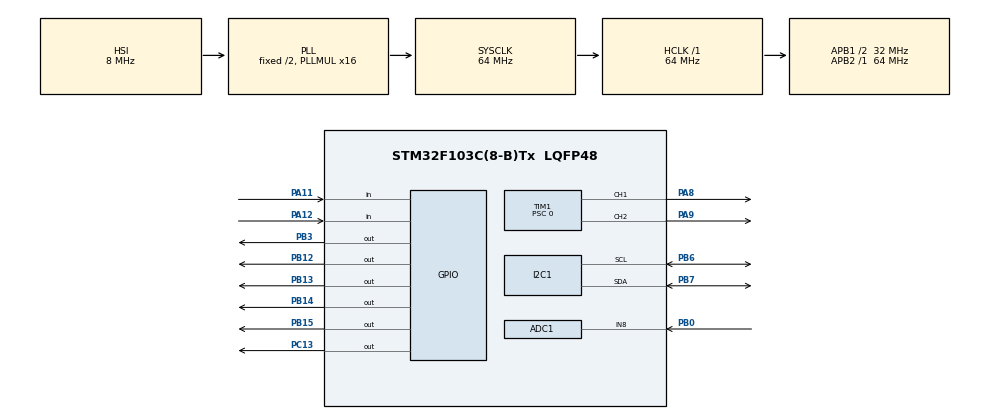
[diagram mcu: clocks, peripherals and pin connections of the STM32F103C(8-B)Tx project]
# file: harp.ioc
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ADC1.Channel-0\#ChannelRegularConversion=ADC_CHANNEL_8
ADC1.NbrOfConversionFlag=1
ADC1.Rank-0\#ChannelRegularConversion=1
ADC1.SamplingTime-0\#ChannelRegularConversion=ADC_SAMPLETIME_1CYCLE_5
ADC1.master=1
Mcu.Family=STM32F1
Mcu.Name=STM32F103C(8-B)Tx
Mcu.Package=LQFP48
NVIC.PriorityGroup=NVIC_PRIORITYGROUP_4
NVIC.TIM2_IRQn=true\:1\:0\:true\:false\:true\:true\:true\:true
NVIC.TIM3_IRQn=true\:0\:0\:false\:false\:true\:true\:true\:true
NVIC.TIM4_IRQn=true\:2\:0\:true\:false\:true\:true\:true\:true
PA11.GPIO_PuPd=GPIO_PULLUP
PA11.Signal=GPIO_Input
PA12.GPIO_PuPd=GPIO_PULLUP
PA12.Signal=GPIO_Input
PA13.Mode=Serial_Wire
PA13.Signal=SYS_JTMS-SWDIO
PA14.Mode=Serial_Wire
PA14.Signal=SYS_JTCK-SWCLK
PA8.Signal=S_TIM1_CH1
PA9.Signal=S_TIM1_CH2
PB0.Signal=ADCx_IN8
PB12.Signal=GPIO_Output
PB13.Signal=GPIO_Output
PB14.Signal=GPIO_Output
PB15.Signal=GPIO_Output
PB3.Signal=GPIO_Output
PB6.Mode=I2C
PB6.Signal=I2C1_SCL
PB7.Mode=I2C
PB7.Signal=I2C1_SDA
PC13-TAMPER-RTC.Signal=GPIO_Output
ProjectManager.HeapSize=0x200
ProjectManager.StackSize=0x400
ProjectManager.TargetToolchain=MDK-ARM V5.32
RCC.ADCPresc=RCC_ADCPCLK2_DIV8
RCC.AHBFreq_Value=64000000
RCC.APB1CLKDivider=RCC_HCLK_DIV2
RCC.APB1Freq_Value=32000000
RCC.APB1TimFreq_Value=64000000
RCC.APB2Freq_Value=64000000
RCC.APB2TimFreq_Value=64000000
RCC.HCLKFreq_Value=64000000
RCC.PLLMUL=RCC_PLL_MUL16
RCC.SYSCLKFreq_VALUE=64000000
RCC.SYSCLKSource=RCC_SYSCLKSOURCE_PLLCLK
RCC.USBFreq_Value=64000000
SH.ADCx_IN8.0=ADC1_IN8,IN8
SH.S_TIM1_CH1.0=TIM1_CH1,PWM Generation1 CH1
SH.S_TIM1_CH2.0=TIM1_CH2,PWM Generation2 CH2
TIM1.Channel-PWM\ Generation1\ CH1=TIM_CHANNEL_1
TIM1.Channel-PWM\ Generation2\ CH2=TIM_CHANNEL_2
TIM1.Period=79
TIM1.Prescaler=0
TIM1.TIM_MasterSlaveMode=TIM_MASTERSLAVEMODE_ENABLE
TIM2.ClockDivision=TIM_CLOCKDIVISION_DIV1
TIM2.Period=99
TIM2.Prescaler=63999
TIM2.TIM_MasterOutputTrigger=TIM_TRGO_UPDATE
TIM3.Period=6390
TIM3.TIM_MasterOutputTrigger=TIM_TRGO_UPDATE
TIM4.Period=49999
TIM4.Prescaler=63
TIM4.TIM_MasterOutputTrigger=TIM_TRGO_UPDATE
VP_TIM1_VS_ClockSourceINT.Mode=Internal
VP_TIM2_VS_ClockSourceINT.Mode=Internal
VP_TIM3_VS_ClockSourceINT.Mode=Internal
VP_TIM4_VS_ClockSourceINT.Mode=Internal
board=custom

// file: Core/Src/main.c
/* USER CODE BEGIN Header */
/**
  ******************************************************************************
  * @file           : main.c
  * @brief          : Main program body
  ******************************************************************************
  * @attention
  *
  * Copyright (c) 2023 STMicroelectronics.
  * All rights reserved.
  *
  * This software is licensed under terms that can be found in the LICENSE file
  * in the root directory of this software component.
  * If no LICENSE file comes with this software, it is provided AS-IS.
  *
  ******************************************************************************
  */
/* USER CODE END Header */
#include "main.h"
#include "adc.h"
#include "i2c.h"
#include "tim.h"
#include "gpio.h"

/* USER CODE BEGIN Includes */
#include "CD74HC4067.h"
#include "audio.h"
#include "ssd1306.h"
/* USER CODE END Includes */

/* USER CODE BEGIN PV */
void calibrate();
uint32_t clock = 0;

uint16_t MUX_S0_Pin = GPIO_PIN_13;
uint16_t MUX_S1_Pin = GPIO_PIN_14;
uint16_t MUX_S2_Pin = GPIO_PIN_15;
uint16_t MUX_S3_Pin = GPIO_PIN_3;
uint16_t MUX_ENABLE_Pin = GPIO_PIN_12;
uint16_t MUX_SIGNAL_Pin = 0;
unsigned char states[7] = {0, 0, 0, 0, 0, 0, 0};
Multiplexer* multiplexer;
uint32_t edge[7];
/* USER CODE END PV */

void SystemClock_Config(void);
/* USER CODE BEGIN PFP */
extern void update_display();
/* USER CODE END PFP */

int main(void)
{

  /* MCU Configuration--------------------------------------------------------*/

  /* Reset of all peripherals, Initializes the Flash interface and the Systick. */
  HAL_Init();

  /* Configure the system clock */
  SystemClock_Config();

  /* Initialize all configured peripherals */
  MX_GPIO_Init();
  MX_ADC1_Init();
  MX_TIM2_Init();
  MX_I2C1_Init();
  MX_TIM1_Init();
  MX_TIM3_Init();
  MX_TIM4_Init();
  /* USER CODE BEGIN 2 */
	sound* sound_ptr = create_sound();
	signal(sound_ptr, (unsigned char[7]){0, 0, 0, 0, 0, 0, 1});
	float time = 0.0f;
	float d_time = 0.0f;
	uint32_t prev_clock = 0;
	uint32_t now_clock = 0;

	//Fucking bullshit variables
	uint16_t buff;

	ssd1306_Init();
	multiplexer = initMultiplexer(GPIOB, MUX_S0_Pin, MUX_S1_Pin, MUX_S2_Pin, MUX_S3_Pin, MUX_ENABLE_Pin, MUX_SIGNAL_Pin);
  setEnableMultiplexer(multiplexer, true);
	HAL_ADCEx_Calibration_Start(&hadc1);

	HAL_Delay(100);
	calibrate();

	HAL_TIM_Base_Start_IT(&htim4);
	HAL_TIM_Base_Start_IT(&htim3);
	HAL_TIM_Base_Start_IT(&htim2);
	HAL_TIM_PWM_Start(&htim1, TIM_CHANNEL_1);
	HAL_TIM_PWM_Start(&htim1, TIM_CHANNEL_2);

	update_display();

  /* USER CODE END 2 */

  /* Infinite loop */
  /* USER CODE BEGIN WHILE */
  while (1)
  {
		now_clock = clock;
		d_time = ((float)((uint32_t)(now_clock - prev_clock)))/10000.0f;
		time += d_time;
		prev_clock = now_clock;

		wait(sound_ptr, time, d_time);
		signal(sound_ptr, states);
		buff = (uint16_t)(4000.0f*(summ_in_time(sound_ptr)));
		if (buff > 79) {buff = 79;}
		TIM1->CCR1 = buff;
		TIM1->CCR2 = buff;
    /* USER CODE END WHILE */

    /* USER CODE BEGIN 3 */
  }

	delete_sound(sound_ptr);
  /* USER CODE END 3 */
}

void SystemClock_Config(void)
{
  RCC_OscInitTypeDef RCC_OscInitStruct = {0};
  RCC_ClkInitTypeDef RCC_ClkInitStruct = {0};
  RCC_PeriphCLKInitTypeDef PeriphClkInit = {0};

  /** Initializes the RCC Oscillators according to the specified parameters
  * in the RCC_OscInitTypeDef structure.
  */
  RCC_OscInitStruct.OscillatorType = RCC_OSCILLATORTYPE_HSI;
  RCC_OscInitStruct.HSIState = RCC_HSI_ON;
  RCC_OscInitStruct.HSICalibrationValue = RCC_HSICALIBRATION_DEFAULT;
  RCC_OscInitStruct.PLL.PLLState = RCC_PLL_ON;
  RCC_OscInitStruct.PLL.PLLSource = RCC_PLLSOURCE_HSI_DIV2;
  RCC_OscInitStruct.PLL.PLLMUL = RCC_PLL_MUL16;
  if (HAL_RCC_OscConfig(&RCC_OscInitStruct) != HAL_OK)
  {
    Error_Handler();
  }

  /** Initializes the CPU, AHB and APB buses clocks
  */
  RCC_ClkInitStruct.ClockType = RCC_CLOCKTYPE_HCLK|RCC_CLOCKTYPE_SYSCLK
                              |RCC_CLOCKTYPE_PCLK1|RCC_CLOCKTYPE_PCLK2;
  RCC_ClkInitStruct.SYSCLKSource = RCC_SYSCLKSOURCE_PLLCLK;
  RCC_ClkInitStruct.AHBCLKDivider = RCC_SYSCLK_DIV1;
  RCC_ClkInitStruct.APB1CLKDivider = RCC_HCLK_DIV2;
  RCC_ClkInitStruct.APB2CLKDivider = RCC_HCLK_DIV1;

  if (HAL_RCC_ClockConfig(&RCC_ClkInitStruct, FLASH_LATENCY_2) != HAL_OK)
  {
    Error_Handler();
  }
  PeriphClkInit.PeriphClockSelection = RCC_PERIPHCLK_ADC;
  PeriphClkInit.AdcClockSelection = RCC_ADCPCLK2_DIV8;
  if (HAL_RCCEx_PeriphCLKConfig(&PeriphClkInit) != HAL_OK)
  {
    Error_Handler();
  }
}

/* USER CODE BEGIN 4 */

void calibrate() {
	uint32_t channel, i, value, k;
	for (channel = 9, i = 0; channel < 16; ++channel, ++i) {
		setMultiplexerChannel(multiplexer, channel);
		value = 0;
		for (k = 0; k < 20; ++k) {
			HAL_ADC_Start(&hadc1);
			HAL_ADC_PollForConversion(&hadc1, 10);
			HAL_ADC_Stop(&hadc1);
			value += HAL_ADC_GetValue(&hadc1);
		}
		value /= 20;
		edge[i] = value + 500;
	}
}

/* USER CODE END 4 */

void Error_Handler(void)
{
  __disable_irq();
  while (1)
  {
  }
}
